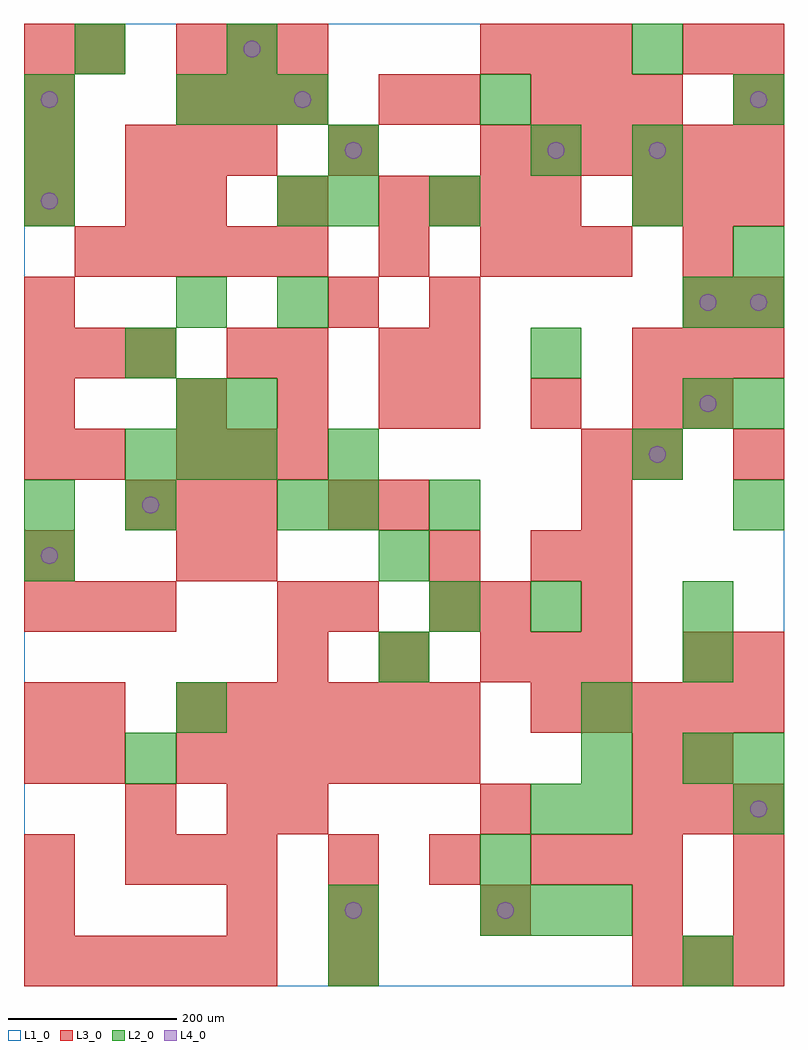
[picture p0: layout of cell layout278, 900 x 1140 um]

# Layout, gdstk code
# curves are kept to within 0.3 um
import gdstk
lib = gdstk.Library(unit=1e-6, precision=1e-09)
def R(c, l, rs):  # rectangles x0, y0, x1, y1
    for r in rs: c.add(gdstk.rectangle(r[:2], r[2:], *l))
def A(c, l, x, y, w, h, nx, ny, dx, dy):  # array of equal rectangles
    R(c, l, [(x+i*dx, y+j*dy, x+i*dx+w, y+j*dy+h) for i in range(nx) for j in range(ny)])
def P(c, l, *ps):  # polygons
    for p in ps: c.add(gdstk.Polygon(p, *l))
L1_0 = (1, 0)
L2_0 = (2, 0)
L3_0 = (3, 0)
L4_0 = (4, 0)

layout278 = lib.new_cell('layout278')
R(layout278, L1_0, [(0,0,900,1140)])
A(layout278, L2_0, 540, 60, 60, 60, 3, 1, 60, 0)
A(layout278, L2_0, 660, 180, 60, 60, 1, 3, 0, 60)
A(layout278, L2_0, 840, 540, 60, 60, 1, 3, 0, 120)
A(layout278, L2_0, 120, 600, 60, 60, 3, 1, 60, 0)
A(layout278, L2_0, 0, 900, 60, 60, 1, 3, 0, 60)
A(layout278, L2_0, 180, 1020, 60, 60, 3, 1, 60, 0)
R(layout278, L2_0, [(360,0,420,60), (780,0,840,60), (360,60,420,120), (540,120,600,180), (600,180,660,240), (840,180,900,240), (120,240,180,300), (780,240,840,300), (840,240,900,300), (180,300,240,360), (420,360,480,420), (780,360,840,420), (480,420,540,480), (600,420,660,480), (780,420,840,480), (0,480,60,540), (420,480,480,540), (0,540,60,600), (120,540,180,600), (300,540,360,600), (360,540,420,600), (480,540,540,600), (360,600,420,660), (720,600,780,660), (180,660,240,720), (240,660,300,720), (780,660,840,720), (120,720,180,780), (600,720,660,780), (180,780,240,840), (300,780,360,840), (780,780,840,840), (840,840,900,900), (300,900,360,960), (360,900,420,960), (480,900,540,960), (720,900,780,960), (360,960,420,1020), (600,960,660,1020), (720,960,780,1020), (540,1020,600,1080), (840,1020,900,1080), (60,1080,120,1140), (240,1080,300,1140), (720,1080,780,1140)])
A(layout278, L3_0, 0, 0, 60, 60, 5, 1, 60, 0)
A(layout278, L3_0, 720, 0, 60, 60, 3, 2, 60, 180)
A(layout278, L3_0, 360, 60, 60, 60, 3, 1, 180, 0)
A(layout278, L3_0, 120, 120, 60, 60, 3, 3, 60, 420)
A(layout278, L3_0, 360, 120, 60, 60, 3, 1, 120, 0)
A(layout278, L3_0, 840, 120, 60, 60, 1, 3, 0, 240)
A(layout278, L3_0, 180, 240, 60, 60, 6, 2, 60, 60)
A(layout278, L3_0, 600, 300, 60, 60, 5, 1, 60, 0)
A(layout278, L3_0, 300, 360, 60, 60, 3, 1, 120, 0)
A(layout278, L3_0, 660, 360, 60, 60, 1, 5, 0, 60)
A(layout278, L3_0, 0, 420, 60, 60, 3, 2, 60, 300)
A(layout278, L3_0, 180, 600, 60, 60, 3, 2, 60, 420)
A(layout278, L3_0, 0, 660, 60, 60, 1, 3, 0, 120)
A(layout278, L3_0, 180, 660, 60, 60, 3, 2, 120, 240)
A(layout278, L3_0, 480, 660, 60, 60, 3, 1, 120, 0)
A(layout278, L3_0, 720, 720, 60, 60, 3, 2, 60, 180)
A(layout278, L3_0, 60, 840, 60, 60, 5, 1, 60, 0)
A(layout278, L3_0, 540, 840, 60, 60, 3, 2, 60, 240)
A(layout278, L3_0, 480, 900, 60, 60, 3, 1, 60, 0)
A(layout278, L3_0, 0, 960, 60, 60, 1, 3, 0, 60)
A(layout278, L3_0, 540, 960, 60, 60, 6, 1, 60, 0)
A(layout278, L3_0, 600, 1020, 60, 60, 3, 1, 60, 0)
A(layout278, L3_0, 180, 1080, 60, 60, 3, 1, 60, 0)
R(layout278, L3_0, [(360,0,420,60), (0,60,60,120), (240,60,300,120), (840,60,900,120), (0,120,60,180), (660,120,720,180), (720,120,780,180), (120,180,180,240), (240,180,300,240), (300,180,360,240), (540,180,600,240), (0,240,60,300), (60,240,120,300), (720,240,780,300), (780,240,840,300), (0,300,60,360), (60,300,120,360), (600,360,660,420), (780,360,840,420), (300,420,360,480), (360,420,420,480), (480,420,540,480), (540,420,600,480), (0,480,60,540), (180,480,240,540), (240,480,300,540), (480,480,540,540), (600,480,660,540), (360,540,420,600), (420,540,480,600), (0,600,60,660), (60,600,120,660), (720,600,780,660), (780,660,840,720), (240,720,300,780), (300,720,360,780), (420,720,480,780), (480,720,540,780), (360,780,420,840), (480,780,540,840), (780,780,840,840), (840,780,900,840), (420,840,480,900), (780,840,840,900), (120,900,180,960), (360,960,420,1020), (420,1020,480,1080), (480,1020,540,1080), (840,1020,900,1080), (60,1080,120,1140), (780,1080,840,1140), (840,1080,900,1140)])
P(layout278, L4_0, [(40,510),(39.239,513.827),(37.071,517.071),(33.827,519.239),(30,520),(26.173,519.239),(22.929,517.071),(20.761,513.827),(20,510),(20.761,506.173),(22.929,502.929),(26.173,500.761),(30,500),(33.827,500.761),(37.071,502.929),(39.239,506.173)],
  [(40,930),(39.239,933.827),(37.071,937.071),(33.827,939.239),(30,940),(26.173,939.239),(22.929,937.071),(20.761,933.827),(20,930),(20.761,926.173),(22.929,922.929),(26.173,920.761),(30,920),(33.827,920.761),(37.071,922.929),(39.239,926.173)],
  [(40,1050),(39.239,1053.827),(37.071,1057.071),(33.827,1059.239),(30,1060),(26.173,1059.239),(22.929,1057.071),(20.761,1053.827),(20,1050),(20.761,1046.173),(22.929,1042.929),(26.173,1040.761),(30,1040),(33.827,1040.761),(37.071,1042.929),(39.239,1046.173)],
  [(160,570),(159.239,573.827),(157.071,577.071),(153.827,579.239),(150,580),(146.173,579.239),(142.929,577.071),(140.761,573.827),(140,570),(140.761,566.173),(142.929,562.929),(146.173,560.761),(150,560),(153.827,560.761),(157.071,562.929),(159.239,566.173)],
  [(280,1110),(279.239,1113.827),(277.071,1117.071),(273.827,1119.239),(270,1120),(266.173,1119.239),(262.929,1117.071),(260.761,1113.827),(260,1110),(260.761,1106.173),(262.929,1102.929),(266.173,1100.761),(270,1100),(273.827,1100.761),(277.071,1102.929),(279.239,1106.173)],
  [(340,1050),(339.239,1053.827),(337.071,1057.071),(333.827,1059.239),(330,1060),(326.173,1059.239),(322.929,1057.071),(320.761,1053.827),(320,1050),(320.761,1046.173),(322.929,1042.929),(326.173,1040.761),(330,1040),(333.827,1040.761),(337.071,1042.929),(339.239,1046.173)],
  [(400,90),(399.239,93.827),(397.071,97.071),(393.827,99.239),(390,100),(386.173,99.239),(382.929,97.071),(380.761,93.827),(380,90),(380.761,86.173),(382.929,82.929),(386.173,80.761),(390,80),(393.827,80.761),(397.071,82.929),(399.239,86.173)],
  [(400,990),(399.239,993.827),(397.071,997.071),(393.827,999.239),(390,1000),(386.173,999.239),(382.929,997.071),(380.761,993.827),(380,990),(380.761,986.173),(382.929,982.929),(386.173,980.761),(390,980),(393.827,980.761),(397.071,982.929),(399.239,986.173)],
  [(580,90),(579.239,93.827),(577.071,97.071),(573.827,99.239),(570,100),(566.173,99.239),(562.929,97.071),(560.761,93.827),(560,90),(560.761,86.173),(562.929,82.929),(566.173,80.761),(570,80),(573.827,80.761),(577.071,82.929),(579.239,86.173)],
  [(640,990),(639.239,993.827),(637.071,997.071),(633.827,999.239),(630,1000),(626.173,999.239),(622.929,997.071),(620.761,993.827),(620,990),(620.761,986.173),(622.929,982.929),(626.173,980.761),(630,980),(633.827,980.761),(637.071,982.929),(639.239,986.173)],
  [(760,630),(759.239,633.827),(757.071,637.071),(753.827,639.239),(750,640),(746.173,639.239),(742.929,637.071),(740.761,633.827),(740,630),(740.761,626.173),(742.929,622.929),(746.173,620.761),(750,620),(753.827,620.761),(757.071,622.929),(759.239,626.173)],
  [(760,990),(759.239,993.827),(757.071,997.071),(753.827,999.239),(750,1000),(746.173,999.239),(742.929,997.071),(740.761,993.827),(740,990),(740.761,986.173),(742.929,982.929),(746.173,980.761),(750,980),(753.827,980.761),(757.071,982.929),(759.239,986.173)],
  [(820,690),(819.239,693.827),(817.071,697.071),(813.827,699.239),(810,700),(806.173,699.239),(802.929,697.071),(800.761,693.827),(800,690),(800.761,686.173),(802.929,682.929),(806.173,680.761),(810,680),(813.827,680.761),(817.071,682.929),(819.239,686.173)],
  [(820,810),(819.239,813.827),(817.071,817.071),(813.827,819.239),(810,820),(806.173,819.239),(802.929,817.071),(800.761,813.827),(800,810),(800.761,806.173),(802.929,802.929),(806.173,800.761),(810,800),(813.827,800.761),(817.071,802.929),(819.239,806.173)],
  [(880,210),(879.239,213.827),(877.071,217.071),(873.827,219.239),(870,220),(866.173,219.239),(862.929,217.071),(860.761,213.827),(860,210),(860.761,206.173),(862.929,202.929),(866.173,200.761),(870,200),(873.827,200.761),(877.071,202.929),(879.239,206.173)],
  [(880,810),(879.239,813.827),(877.071,817.071),(873.827,819.239),(870,820),(866.173,819.239),(862.929,817.071),(860.761,813.827),(860,810),(860.761,806.173),(862.929,802.929),(866.173,800.761),(870,800),(873.827,800.761),(877.071,802.929),(879.239,806.173)],
  [(880,1050),(879.239,1053.827),(877.071,1057.071),(873.827,1059.239),(870,1060),(866.173,1059.239),(862.929,1057.071),(860.761,1053.827),(860,1050),(860.761,1046.173),(862.929,1042.929),(866.173,1040.761),(870,1040),(873.827,1040.761),(877.071,1042.929),(879.239,1046.173)])

lib.write_gds('layout278.gds')
